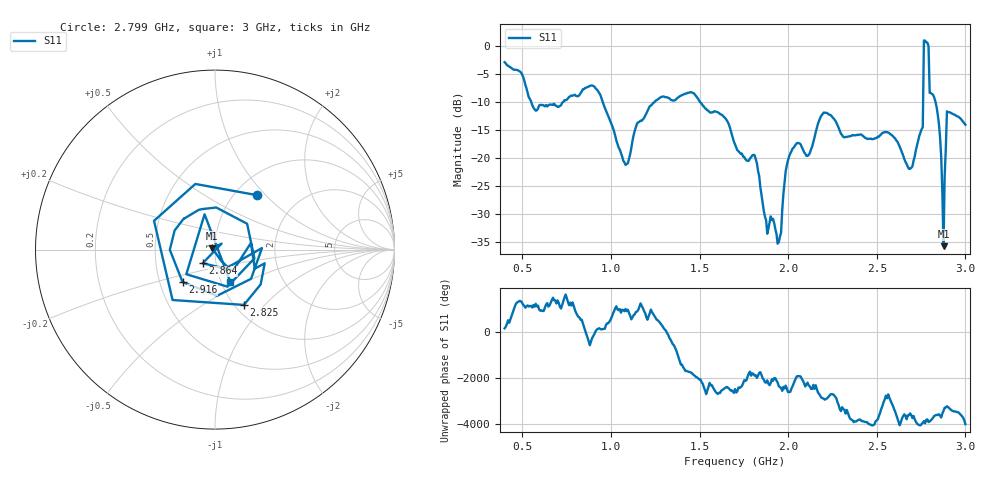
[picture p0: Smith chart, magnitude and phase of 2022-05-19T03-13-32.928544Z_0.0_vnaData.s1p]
!Created with skrf (http://scikit-rf.org).
# Hz S RI R 50.0
!freq ReS11 ImS11
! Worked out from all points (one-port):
!   401 points, 400 MHz to 3 GHz, reference 50 ohm
!   lowest |S11| = -35.7 dB at 2.877 GHz (marker M1), VSWR 1.03, Z = 48.5 + j0.689 ohm
!   |S11| at or under -10 dB: 550.7 MHz to 728.3 MHz (177.5 MHz wide, 27.8 % of centre); 954 MHz to 1.245 GHz (291.1 MHz wide, 26.5 % of centre); 1.504 GHz to 2.761 GHz (1.257 GHz wide, 58.9 % of centre) (the widest 3 of 4)
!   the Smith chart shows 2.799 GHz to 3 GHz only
!   S11 on the Smith chart (normalised r, x): 2.799 GHz: 1.26, +0.90; 2.825 GHz: 1.10, -0.77; 2.864 GHz: 0.86, -0.13; 2.916 GHz: 0.66, -0.25; 3 GHz: 1.10, -0.41
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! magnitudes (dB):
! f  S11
! 400 MHz  -2.8
! 569 MHz  -11.3
! 725 MHz  -10.1
! 907 MHz  -7.2
! 1.05 GHz  -18.5
! 1.089 GHz  -21.0
! 1.226 GHz  -10.6
! 1.375 GHz  -9.2
! 1.7 GHz  -17.5
! 1.81 GHz  -19.5
! 1.875 GHz  -31.1
! 1.947 GHz  -35.0
! 1.992 GHz  -21.3
! 2.025 GHz  -18.3
! 2.116 GHz  -19.4
! 2.207 GHz  -11.9
! 2.35 GHz  -16.1
! 2.571 GHz  -15.5
! 2.675 GHz  -21.6
! 2.747 GHz  -15.4
! 2.779 GHz  0.7
! 2.799 GHz  -8.3
! 2.825 GHz  -9.2
! 2.85 GHz  -13.8
! 2.864 GHz  -19.8
! 2.877 GHz  -35.7
! 2.916 GHz  -11.9
! 3 GHz  -14.0
